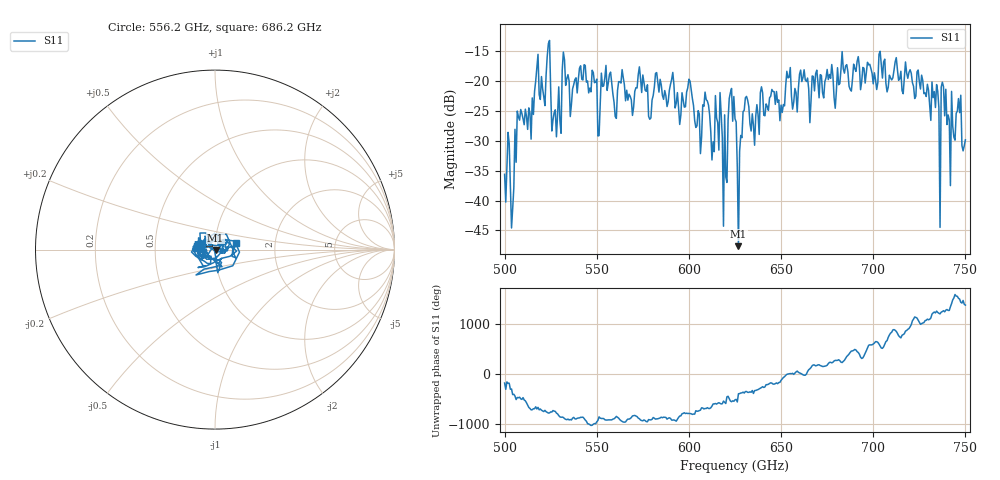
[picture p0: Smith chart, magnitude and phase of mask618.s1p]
!Created with skrf (http://scikit-rf.org).
# GHz S MA R 50.0
!freq magS11 angS11
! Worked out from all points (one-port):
!   401 points, 500 GHz to 750 GHz, reference 50 ohm
!   lowest |S11| = -47.6 dB at 626.9 GHz (marker M1), VSWR 1.01, Z = 50.3 - j0.227 ohm
!   |S11| at or under -10 dB: start of sweep to end of sweep
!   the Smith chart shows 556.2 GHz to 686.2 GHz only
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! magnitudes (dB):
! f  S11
! 500 GHz  -35.6
! 504.4 GHz  -41.4
! 508.1 GHz  -26.5
! 513.1 GHz  -24.5
! 517.5 GHz  -17.8
! 523.8 GHz  -13.7
! 526.9 GHz  -25.3
! 531.2 GHz  -18.2
! 562.5 GHz  -20.1
! 593.8 GHz  -21.9
! 605.6 GHz  -25.5
! 609.4 GHz  -23.1
! 612.5 GHz  -33.2
! 616.9 GHz  -21.9
! 619.4 GHz  -25.7
! 622.5 GHz  -21.9
! 625 GHz  -26.3
! 626.9 GHz  -47.6
! 630.6 GHz  -22.8
! 634.4 GHz  -25.5
! 656.2 GHz  -24.7
! 687.5 GHz  -21.4
! 718.8 GHz  -19.5
! 735 GHz  -21.7
! 738.1 GHz  -20.9
! 743.1 GHz  -27.6
! 746.2 GHz  -22.9
! 750 GHz  -29.8
